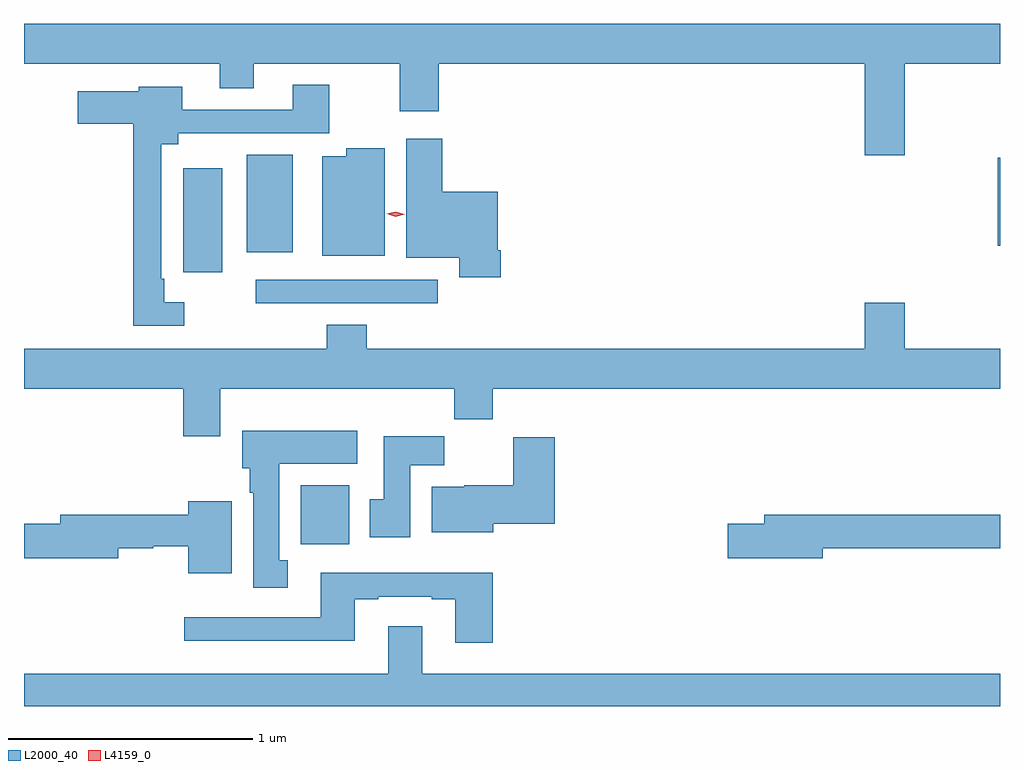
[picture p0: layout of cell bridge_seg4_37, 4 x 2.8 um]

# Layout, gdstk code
import gdstk
lib = gdstk.Library(unit=1e-6, precision=1e-09)
def R(c, l, rs):  # rectangles x0, y0, x1, y1
    for r in rs: c.add(gdstk.rectangle(r[:2], r[2:], *l))
def P(c, l, *ps):  # polygons
    for p in ps: c.add(gdstk.Polygon(p, *l))
L2000_40 = (2000, 40)
L4159_0 = (4159, 0)

bridge_seg4_37 = lib.new_cell('bridge_seg4_37')
R(bridge_seg4_37, L2000_40, [(750.11,749.564,750.307,749.806), (749.925,750.552,750.67,750.648), (749.627,750.678,749.788,751.105), (749.888,750.761,750.076,751.159), (752.966,750.787,752.975,751.147)])
P(bridge_seg4_37, L2000_40, [(748.975,751.532),(749.777,751.532),(749.777,751.433),(749.917,751.433),(749.917,751.532),(750.514,751.532),(750.514,751.338),(750.674,751.338),(750.674,751.532),(752.42,751.532),(752.42,751.158),(752.584,751.158),(752.584,751.532),(752.975,751.532),(752.975,751.696),(748.975,751.696)],
  [(749.632,750.555),(749.55,750.555),(749.55,750.652),(749.538,750.652),(749.538,751.202),(749.608,751.202),(749.608,751.248),(750.225,751.248),(750.225,751.447),(750.077,751.447),(750.077,751.344),(749.623,751.344),(749.623,751.438),(749.445,751.438),(749.445,751.42),(749.196,751.42),(749.196,751.286),(749.422,751.286),(749.422,750.459),(749.632,750.459)],
  [(750.929,750.769),(750.916,750.769),(750.916,751.009),(750.689,751.009),(750.689,751.225),(750.542,751.225),(750.542,750.737),(750.758,750.737),(750.758,750.657),(750.929,750.657)],
  [(750.454,751.186),(750.296,751.186),(750.296,751.153),(750.197,751.153),(750.197,750.746),(750.454,750.746)],
  [(749.779,750.2),(750.739,750.2),(750.739,750.076),(750.896,750.076),(750.896,750.2),(752.975,750.2),(752.975,750.364),(752.584,750.364),(752.584,750.553),(752.42,750.553),(752.42,750.364),(750.38,750.364),(750.38,750.463),(750.215,750.463),(750.215,750.364),(748.975,750.364),(748.975,750.2),(749.627,750.2),(749.627,750.006),(749.779,750.006)],
  [(750.055,749.498),(750.022,749.498),(750.022,749.894),(750.34,749.894),(750.34,750.028),(749.87,750.028),(749.87,749.874),(749.9,749.874),(749.9,749.774),(749.915,749.774),(749.915,749.385),(750.055,749.385)],
  [(750.559,749.888),(750.698,749.888),(750.698,750.007),(750.449,750.007),(750.449,749.748),(750.392,749.748),(750.392,749.592),(750.559,749.592)],
  [(750.898,749.648),(751.151,749.648),(751.151,750.001),(750.98,750.001),(750.98,749.806),(750.78,749.806),(750.78,749.8),(750.647,749.8),(750.647,749.612),(750.898,749.612)],
  [(749.827,749.74),(749.648,749.74),(749.648,749.684),(749.123,749.684),(749.123,749.648),(748.975,749.648),(748.975,749.506),(749.362,749.506),(749.362,749.548),(749.505,749.548),(749.505,749.556),(749.648,749.556),(749.648,749.444),(749.827,749.444)],
  [(752.248,749.548),(752.975,749.548),(752.975,749.684),(752.009,749.684),(752.009,749.648),(751.86,749.648),(751.86,749.506),(752.248,749.506)],
  [(750.896,749.446),(750.191,749.446),(750.191,749.265),(749.631,749.265),(749.631,749.168),(750.331,749.168),(750.331,749.337),(750.427,749.337),(750.427,749.349),(750.647,749.349),(750.647,749.337),(750.743,749.337),(750.743,749.16),(750.896,749.16)],
  [(752.975,749.032),(750.607,749.032),(750.607,749.227),(750.467,749.227),(750.467,749.032),(748.975,749.032),(748.975,748.9),(752.975,748.9)])
P(bridge_seg4_37, L4159_0, [(750.498,750.906),(750.462,750.917),(750.462,750.917),(750.462,750.917),(750.498,750.926),(750.534,750.916),(750.535,750.916),(750.534,750.916)])

lib.write_gds('bridge_seg4_37.gds')
